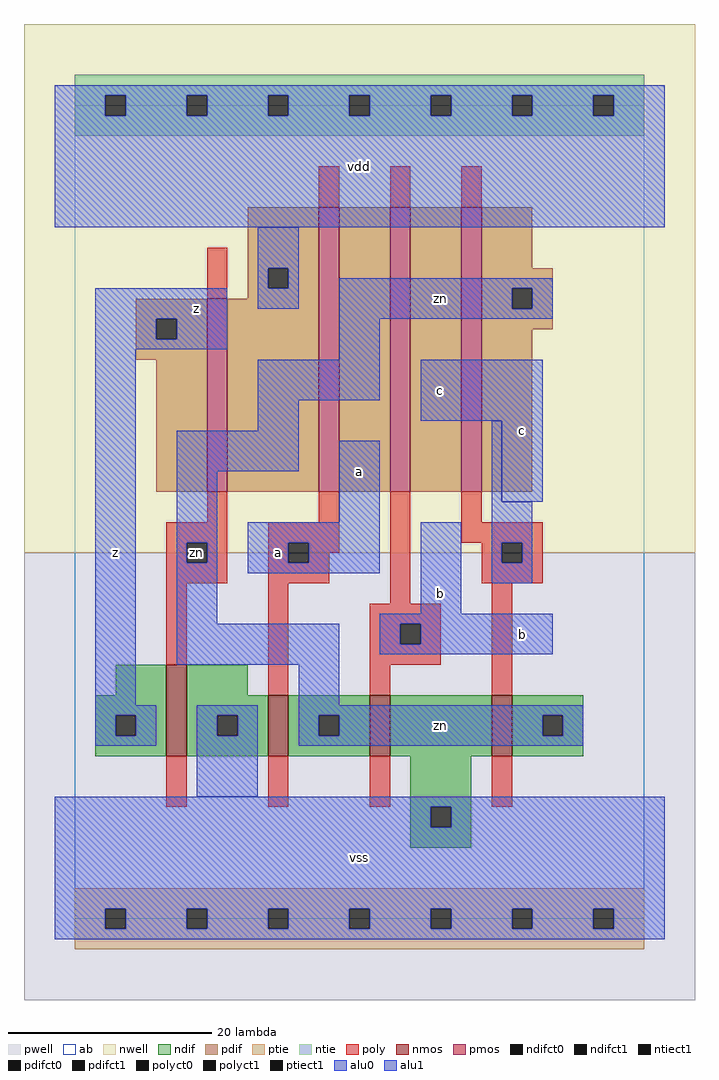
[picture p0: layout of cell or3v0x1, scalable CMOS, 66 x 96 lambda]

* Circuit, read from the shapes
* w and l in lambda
.subckt or3v0x1 a b c vdd vss z zn
M1 vss zn z vss nfet w=9 l=2
M2 zn a vss vss nfet w=6 l=2
M3 vss b zn vss nfet w=6 l=2
M4 zn c vss vss nfet w=6 l=2
M5 vdd zn z vdd pfet w=19 l=2
M6 n1 a vdd vdd pfet w=28 l=2
M7 n2 b n1 vdd pfet w=28 l=2
M8 zn c n2 vdd pfet w=28 l=2
.ends

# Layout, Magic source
magic
tech scmos
<< ab >>
rect 0 0 56 80
<< nwell >>
rect -5 36 61 88
<< pwell >>
rect -5 -8 61 36
<< poly >>
rect 24 70 26 74
rect 31 70 33 74
rect 38 70 40 74
rect 13 61 15 66
rect 13 39 15 42
rect 24 39 26 42
rect 9 37 15 39
rect 9 35 11 37
rect 13 35 15 37
rect 9 33 15 35
rect 19 37 26 39
rect 19 35 21 37
rect 23 36 26 37
rect 23 35 25 36
rect 19 33 25 35
rect 9 25 11 33
rect 19 22 21 33
rect 31 31 33 42
rect 38 39 40 42
rect 38 37 46 39
rect 40 35 42 37
rect 44 35 46 37
rect 40 33 46 35
rect 29 29 36 31
rect 29 27 32 29
rect 34 27 36 29
rect 29 25 36 27
rect 29 22 31 25
rect 41 22 43 33
rect 9 11 11 16
rect 19 11 21 16
rect 29 11 31 16
rect 41 11 43 16
<< ndif >>
rect 4 22 9 25
rect 2 20 9 22
rect 2 18 4 20
rect 6 18 9 20
rect 2 16 9 18
rect 11 22 17 25
rect 11 20 19 22
rect 11 18 14 20
rect 16 18 19 20
rect 11 16 19 18
rect 21 20 29 22
rect 21 18 24 20
rect 26 18 29 20
rect 21 16 29 18
rect 31 16 41 22
rect 43 20 50 22
rect 43 18 46 20
rect 48 18 50 20
rect 43 16 50 18
rect 33 11 39 16
rect 33 9 35 11
rect 37 9 39 11
rect 33 7 39 9
<< pdif >>
rect 17 64 24 70
rect 17 62 19 64
rect 21 62 24 64
rect 17 61 24 62
rect 6 59 13 61
rect 6 57 8 59
rect 10 57 13 59
rect 6 55 13 57
rect 8 42 13 55
rect 15 42 24 61
rect 26 42 31 70
rect 33 42 38 70
rect 40 64 45 70
rect 40 62 47 64
rect 40 60 43 62
rect 45 60 47 62
rect 40 58 47 60
rect 40 42 45 58
<< alu1 >>
rect -2 81 58 82
rect -2 79 3 81
rect 5 79 11 81
rect 13 79 19 81
rect 21 79 27 81
rect 29 79 35 81
rect 37 79 43 81
rect 45 79 51 81
rect 53 79 58 81
rect -2 68 58 79
rect 2 59 15 62
rect 2 57 8 59
rect 10 57 15 59
rect 2 56 15 57
rect 2 21 6 56
rect 34 49 46 55
rect 26 39 30 47
rect 42 41 46 49
rect 17 37 30 39
rect 17 35 21 37
rect 23 35 30 37
rect 17 34 30 35
rect 34 30 38 39
rect 30 29 47 30
rect 30 27 32 29
rect 34 27 47 29
rect 30 26 47 27
rect 2 20 8 21
rect 2 18 4 20
rect 6 18 8 20
rect 2 17 8 18
rect -2 11 58 12
rect -2 9 35 11
rect 37 9 58 11
rect -2 1 58 9
rect -2 -1 3 1
rect 5 -1 11 1
rect 13 -1 19 1
rect 21 -1 27 1
rect 29 -1 35 1
rect 37 -1 43 1
rect 45 -1 51 1
rect 53 -1 58 1
rect -2 -2 58 -1
<< ptie >>
rect 0 1 56 3
rect 0 -1 3 1
rect 5 -1 11 1
rect 13 -1 19 1
rect 21 -1 27 1
rect 29 -1 35 1
rect 37 -1 43 1
rect 45 -1 51 1
rect 53 -1 56 1
rect 0 -3 56 -1
<< ntie >>
rect 0 81 56 83
rect 0 79 3 81
rect 5 79 11 81
rect 13 79 19 81
rect 21 79 27 81
rect 29 79 35 81
rect 37 79 43 81
rect 45 79 51 81
rect 53 79 56 81
rect 0 77 56 79
<< nmos >>
rect 9 16 11 25
rect 19 16 21 22
rect 29 16 31 22
rect 41 16 43 22
<< pmos >>
rect 13 42 15 61
rect 24 42 26 70
rect 31 42 33 70
rect 38 42 40 70
<< polyct0 >>
rect 11 35 13 37
rect 42 35 44 37
<< polyct1 >>
rect 21 35 23 37
rect 32 27 34 29
<< ndifct0 >>
rect 14 18 16 20
rect 24 18 26 20
rect 46 18 48 20
<< ndifct1 >>
rect 4 18 6 20
rect 35 9 37 11
<< ntiect1 >>
rect 3 79 5 81
rect 11 79 13 81
rect 19 79 21 81
rect 27 79 29 81
rect 35 79 37 81
rect 43 79 45 81
rect 51 79 53 81
<< ptiect1 >>
rect 3 -1 5 1
rect 11 -1 13 1
rect 19 -1 21 1
rect 27 -1 29 1
rect 35 -1 37 1
rect 43 -1 45 1
rect 51 -1 53 1
<< pdifct0 >>
rect 19 62 21 64
rect 43 60 45 62
<< pdifct1 >>
rect 8 57 10 59
<< alu0 >>
rect 18 64 22 68
rect 18 62 19 64
rect 21 62 22 64
rect 18 60 22 62
rect 26 62 47 63
rect 26 60 43 62
rect 45 60 47 62
rect 26 59 47 60
rect 26 55 30 59
rect 18 51 30 55
rect 18 48 22 51
rect 10 44 22 48
rect 10 37 14 44
rect 41 41 42 49
rect 10 35 11 37
rect 13 35 14 37
rect 10 29 14 35
rect 41 37 45 41
rect 41 35 42 37
rect 44 35 45 37
rect 41 33 45 35
rect 10 25 26 29
rect 22 21 26 25
rect 12 20 18 21
rect 12 18 14 20
rect 16 18 18 20
rect 12 12 18 18
rect 22 20 50 21
rect 22 18 24 20
rect 26 18 46 20
rect 48 18 50 20
rect 22 17 50 18
<< labels >>
rlabel polyct0 12 36 12 36 6 zn
rlabel alu0 36 19 36 19 6 zn
rlabel alu0 36 61 36 61 6 zn
rlabel alu1 4 36 4 36 6 z
rlabel alu1 20 36 20 36 6 a
rlabel alu1 12 60 12 60 6 z
rlabel alu1 28 6 28 6 6 vss
rlabel alu1 36 32 36 32 6 b
rlabel alu1 28 44 28 44 6 a
rlabel alu1 36 52 36 52 6 c
rlabel alu1 28 74 28 74 6 vdd
rlabel alu1 44 28 44 28 6 b
rlabel alu1 44 48 44 48 6 c
<< end >>
